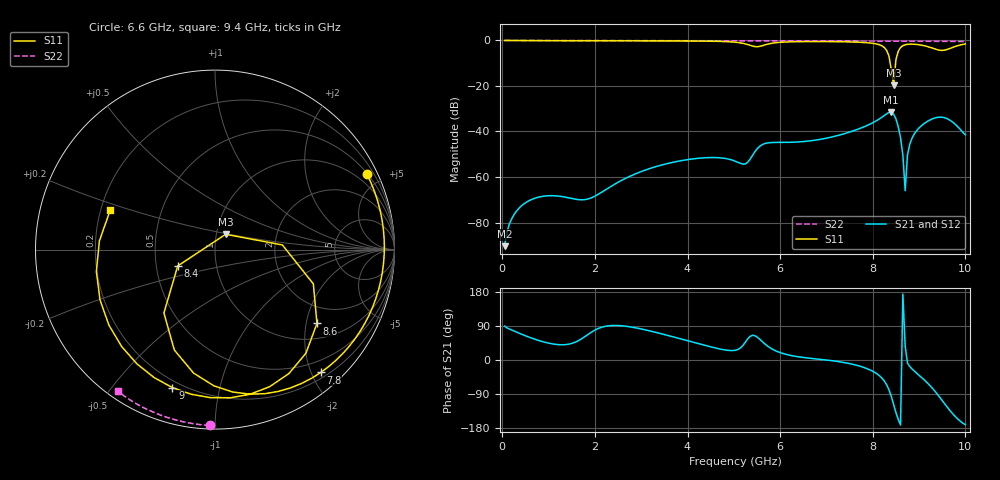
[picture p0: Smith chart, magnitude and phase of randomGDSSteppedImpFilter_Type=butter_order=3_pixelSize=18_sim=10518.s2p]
! freq	dB(S11)	phase(S11)	dB(S12)	phase(S12)
!  dB(S21)	phase(S21)	dB(S22)	phase(S22)
!S-par simulation data
#  GHz  S  DB  R 50
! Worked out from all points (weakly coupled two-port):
!   200 points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, 50 MHz to 10 GHz, reference 50 ohm
!   highest |S21| = -31.51 dB at 8.4 GHz (marker M1); lowest = -90.4 dB at 50 MHz (marker M2)
!   lowest |S11| = -19.7 dB at 8.45 GHz (marker M3), VSWR 1.23, Z = 55.4 + j9.57 ohm
!   |S11| at or under -10 dB: 8.376 GHz to 8.493 GHz (117.2 MHz wide, 1.39 % of centre)
!   |S22| runs from -0.4 to 0.0 dB; largest |S21 - S12| = 0
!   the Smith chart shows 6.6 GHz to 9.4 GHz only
!   S11 on the Smith chart (normalised r, x): 6.6 GHz: 0.53, +4.16; 7.8 GHz: 0.29, -2.15; 8.4 GHz: 0.65, -0.12; 8.6 GHz: 1.43, -2.31; 9 GHz: 0.17, -0.72; 9.4 GHz: 0.24, +0.17
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0.05  -0.00 -4.8  -90.38 89.6  -90.38 89.6  -0.00 -0.8
0.85  -0.09 -75.6  -68.55 49.1  -68.55 49.1  -0.02 -12.8
1.75  -0.13 -138.7  -69.99 59.0  -69.99 59.0  -0.03 -26.2
3.4  -0.19 132.3  -54.95 70.3  -54.95 70.3  -0.07 -49.9
4.4  -0.30 75.0  -51.51 37.9  -51.51 37.9  -0.09 -63.6
5.05  -0.81 11.7  -53.20 26.2  -53.20 26.2  -0.11 -72.2
5.4  -2.45 -85.7  -50.61 65.2  -50.61 65.2  -0.12 -76.7
5.6  -2.38 178.3  -45.92 50.0  -45.92 50.0  -0.13 -79.3
5.9  -1.01 96.3  -44.79 24.4  -44.79 24.4  -0.14 -83.1
6.6  -0.49 26.6  -44.23 5.2  -44.23 5.2  -0.17 -91.8
6.7  -0.49 19.9  -43.98 3.8  -43.98 3.8  -0.18 -93.0
7.8  -0.88 -49.3  -38.03 -19.4  -38.03 -19.4  -0.25 -106.2
8.35  -6.87 -128.9  -31.65 -78.7  -31.65 -78.7  -0.29 -112.5
8.4  -12.89 -156.3  -31.51 -96.1  -31.51 -96.1  -0.29 -113.1
8.45  -19.67 55.2  -32.32 -117.2  -32.32 -117.2  -0.29 -113.7
8.6  -3.08 -35.9  -42.73 -171.7  -42.73 -171.7  -0.30 -115.4
8.7  -1.89 -59.2  -65.99 36.2  -65.99 36.2  -0.31 -116.6
8.8  -1.62 -76.4  -45.51 -17.2  -45.51 -17.2  -0.32 -117.7
9  -1.89 -107.2  -38.43 -40.4  -38.43 -40.4  -0.34 -120.0
9.4  -4.10 159.3  -33.78 -90.9  -33.78 -90.9  -0.38 -124.6
9.65  -3.65 69.1  -34.84 -130.9  -34.84 -130.9  -0.40 -127.4
10  -1.53 -7.5  -41.44 -170.6  -41.44 -170.6  -0.44 -131.3
